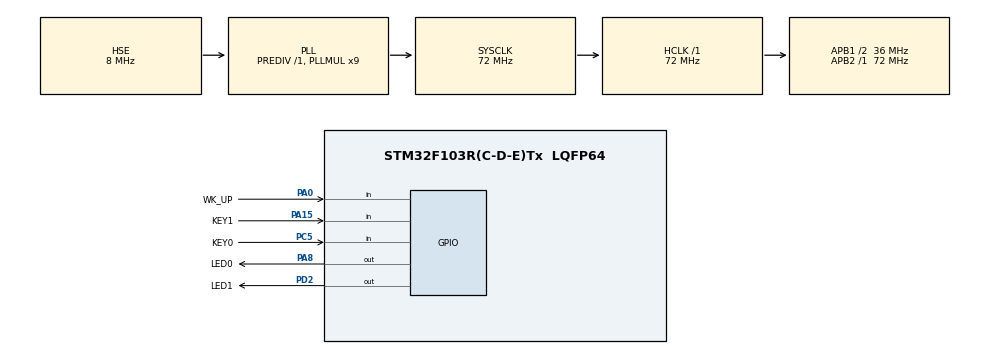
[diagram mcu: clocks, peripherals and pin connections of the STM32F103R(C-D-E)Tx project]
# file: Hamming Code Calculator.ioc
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Mcu.Family=STM32F1
Mcu.Name=STM32F103R(C-D-E)Tx
Mcu.Package=LQFP64
NVIC.PriorityGroup=NVIC_PRIORITYGROUP_4
NVIC.TIM3_IRQn=true\:1\:0\:true\:false\:true\:true\:true\:true
PA0-WKUP.GPIO_Label=WK_UP
PA0-WKUP.GPIO_PuPd=GPIO_PULLDOWN
PA0-WKUP.Signal=GPIO_Input
PA13.Mode=Serial_Wire
PA13.Signal=SYS_JTMS-SWDIO
PA14.Mode=Serial_Wire
PA14.Signal=SYS_JTCK-SWCLK
PA15.GPIO_Label=KEY1
PA15.GPIO_PuPd=GPIO_PULLUP
PA15.Signal=GPIO_Input
PA8.GPIO_Label=LED0
PA8.GPIO_PuPd=GPIO_NOPULL
PA8.Signal=GPIO_Output
PC5.GPIO_Label=KEY0
PC5.GPIO_PuPd=GPIO_PULLUP
PC5.Signal=GPIO_Input
PD0-OSC_IN.Mode=HSE-External-Oscillator
PD0-OSC_IN.Signal=RCC_OSC_IN
PD1-OSC_OUT.Mode=HSE-External-Oscillator
PD1-OSC_OUT.Signal=RCC_OSC_OUT
PD2.GPIO_Label=LED1
PD2.Signal=GPIO_Output
ProjectManager.HeapSize=0x200
ProjectManager.StackSize=0x400
ProjectManager.TargetToolchain=STM32CubeIDE
RCC.AHBFreq_Value=72000000
RCC.APB1CLKDivider=RCC_HCLK_DIV2
RCC.APB1Freq_Value=36000000
RCC.APB1TimFreq_Value=72000000
RCC.APB2Freq_Value=72000000
RCC.APB2TimFreq_Value=72000000
RCC.HCLKFreq_Value=72000000
RCC.PLLMUL=RCC_PLL_MUL9
RCC.PLLSourceVirtual=RCC_PLLSOURCE_HSE
RCC.SYSCLKFreq_VALUE=72000000
RCC.SYSCLKSource=RCC_SYSCLKSOURCE_PLLCLK
RCC.USBFreq_Value=72000000
TIM3.Period=500
TIM3.Prescaler=7199
VP_TIM3_VS_ClockSourceINT.Mode=Internal
board=custom

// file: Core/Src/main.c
/* USER CODE BEGIN Header */
/**
  ******************************************************************************
  * @file           : main.c
  * @brief          : Main program body
  ******************************************************************************
  * @attention
  *
  * Copyright (c) 2024 STMicroelectronics.
  * All rights reserved.
  *
  * This software is licensed under terms that can be found in the LICENSE file
  * in the root directory of this software component.
  * If no LICENSE file comes with this software, it is provided AS-IS.
  *
  ******************************************************************************
  */
/* USER CODE END Header */
#include "main.h"
#include "tim.h"
#include "gpio.h"

/* USER CODE BEGIN Includes */
#include "debounce.h"
#include "lcd.h"
#include <string.h>
#include <stdio.h>
#include <math.h>
/* USER CODE END Includes */

/* USER CODE BEGIN PTD */
typedef enum{
  ENCODE_MODE,
  DECODE_MODE
} CalculatorMode; // Calculator working mode
/* USER CODE END PTD */

/* USER CODE BEGIN PM */
#define ENCODE_MAX_LEN 4  // The maximum length of original data
#define DECODE_MAX_LEN 8  // The maximum length of hamming code
#define PARITY_LEN DECODE_MAX_LEN - ENCODE_MAX_LEN  // The number of parity bits
/* USER CODE END PM */

/* USER CODE BEGIN PV */
extern TIM_HandleTypeDef htim3; // Timer handler
extern Key_HandleTypeDef Key0;  // Key handler (defined in debounce.c, used for input debouncing)
extern Key_HandleTypeDef Key1;
extern Key_HandleTypeDef Key_WKUP;
/* USER CODE END PV */

void SystemClock_Config(void);

int main(void)
{

  /* MCU Configuration--------------------------------------------------------*/

  /* Reset of all peripherals, Initializes the Flash interface and the Systick. */
  HAL_Init();

  /* Configure the system clock */
  SystemClock_Config();

  /* USER CODE BEGIN SysInit */
  LCD_Init();
  /* USER CODE END SysInit */

  /* Initialize all configured peripherals */
  MX_GPIO_Init();
  MX_TIM3_Init();
  /* USER CODE BEGIN 2 */
  Debounce_InitKey0(); // Initialize the key debouncing functionality
  Debounce_InitKey1();
  Debounce_InitKeyWKUP();
  HAL_TIM_Base_Start_IT(&htim3);

  POINT_COLOR = BLACK;

  CalculatorMode mode = ENCODE_MODE;

  /* Input buffer */
  uint8_t input_buffer_len = 0;
  uint8_t input_buffer_size = ENCODE_MAX_LEN;
  uint8_t input_buffer[DECODE_MAX_LEN] = {0};             // Input buffer, stores all key inputs

  /* Data Storage */
                                                          // Data Names               || Encode Mode || Decode Mode
  uint8_t original_data[ENCODE_MAX_LEN] = {0};            // Original data            || User Input  || Corrected, from the corrected hamming code
  uint8_t error_data[ENCODE_MAX_LEN] = {0};               // Error data               || Unused      || Uncorrected, straight from input's data bits
  uint8_t hamming_code[DECODE_MAX_LEN] = {0};             // Hamming code             || Generated   || User Input
  uint8_t corrected_hamming_code[DECODE_MAX_LEN] = {0};   // Corrected hamming code   || Unused      || Corrected after error detection
  uint8_t parity_bits[PARITY_LEN] = {0};                  // Parity bits
  uint8_t error_num = 0;                                  // Error number
  uint8_t error_overall_flag = 0;                         // If the global parity bit is incorrect
  uint8_t error_local_flag = 0;                           // If any of the local parity bits are incorrect
  uint8_t error_bit_pos = 0;                              // The position of the error bit

  /* Flags */
  uint8_t repaint_flag = 0;                               // Repaint only when certain events occur
  uint8_t key0_pressed_flag = 0;
  uint8_t key1_pressed_flag = 0;
  uint8_t key_wkup_pressed_flag = 0;

  // Turn off LEDs
  HAL_GPIO_WritePin(LED0_GPIO_Port, LED0_Pin, GPIO_PIN_SET);
  HAL_GPIO_WritePin(LED1_GPIO_Port, LED1_Pin, GPIO_PIN_SET);

  // Display the welcome message
  LCD_Clear(WHITE);
  LCD_ShowString(45, 70,  200, 24, 24, (uint8_t*) "   Hamming     ");
  LCD_ShowString(40, 100, 200, 24, 24, (uint8_t*) "     Code      ");
  LCD_ShowString(40, 130, 200, 24, 24, (uint8_t*) "  Calculator   ");
  LCD_ShowString(20, 160, 200, 16, 16, (uint8_t*) " By 12212006 Mengxuan Wu ");
  LCD_ShowString(20, 176, 200, 16, 16, (uint8_t*) "Press Any Key to Continue");
  /* USER CODE END 2 */

  /* Infinite loop */
  while (1)
  {

    /* USER CODE BEGIN 3 */

    /* Read key press events */
    key0_pressed_flag = Debounce_ReadPress(&Key0);
    key1_pressed_flag = Debounce_ReadPress(&Key1);
    key_wkup_pressed_flag = Debounce_ReadPress(&Key_WKUP);
    repaint_flag = key0_pressed_flag || key1_pressed_flag || key_wkup_pressed_flag;  // Repaint only when key pressed

    /* Working mode switch */
    if (key_wkup_pressed_flag){
      input_buffer_len = 0;
      memset(input_buffer, 0, sizeof(input_buffer));
      if (mode == ENCODE_MODE){
        mode = DECODE_MODE;

        // flash once
        for (int i = 0; i < 2; i++){
          HAL_GPIO_TogglePin(LED0_GPIO_Port, LED0_Pin);
          HAL_GPIO_TogglePin(LED1_GPIO_Port, LED1_Pin);
          HAL_Delay(100);
        }
      } else {
        mode = ENCODE_MODE;

        // flash twice
        for (int i = 0; i < 4; i++){
          HAL_GPIO_TogglePin(LED0_GPIO_Port, LED0_Pin);
          HAL_GPIO_TogglePin(LED1_GPIO_Port, LED1_Pin);
          HAL_Delay(100);
        }
      }
    }

    /* Handle input event (Key0 has higher priority) */
    input_buffer_size = mode == ENCODE_MODE ? ENCODE_MAX_LEN : DECODE_MAX_LEN;  // Set input buffer size based on mode
    if (key0_pressed_flag || key1_pressed_flag){
      if (input_buffer_len >= input_buffer_size){
        input_buffer_len = 0; // Clear buffer when full
      }
      if (key0_pressed_flag){
        input_buffer[input_buffer_len] = 0;
        input_buffer_len++;
      } else if (key1_pressed_flag){
        input_buffer[input_buffer_len] = 1;
        input_buffer_len++;
      }
    }

    /* Encode & decode logic */
    if (input_buffer_len == input_buffer_size){ // trigger the calculation when the input buffer is full
      memset(parity_bits, 0, sizeof(parity_bits));
      if (mode == ENCODE_MODE){
        /* Encode mode */
        memcpy(original_data, input_buffer, ENCODE_MAX_LEN * sizeof(uint8_t));
        memset(hamming_code, 0, sizeof(hamming_code));

        hamming_code[3] = original_data[0];
        hamming_code[5] = original_data[1];
        hamming_code[6] = original_data[2];
        hamming_code[7] = original_data[3];

        for (int i = 1; i < DECODE_MAX_LEN; i++){
          for (int j = 1; j < PARITY_LEN; j++){
            if ((i >> (j - 1)) & 1){
              parity_bits[j] ^= hamming_code[i];
            }
          }
        }

        hamming_code[1] = parity_bits[1];
        hamming_code[2] = parity_bits[2];
        hamming_code[4] = parity_bits[3];

        for (int i = 1; i < DECODE_MAX_LEN; i++){
          parity_bits[0] ^= hamming_code[i];
        }

        hamming_code[0] = parity_bits[0];
      }else{
        /* Decode mode */
        memcpy(hamming_code, input_buffer, DECODE_MAX_LEN * sizeof(uint8_t));
        memset(original_data, 0, sizeof(original_data));
        memset(error_data, 0, sizeof(error_data));

        error_data[0] = hamming_code[3];
        error_data[1] = hamming_code[5];
        error_data[2] = hamming_code[6];
        error_data[3] = hamming_code[7];

        for (int i = 0; i < DECODE_MAX_LEN; i++){
          for (int j = 1; j < PARITY_LEN; j++){
            if ((i >> (j - 1)) & 1){
              parity_bits[j] ^= hamming_code[i];
            }
          }
          parity_bits[0] ^= input_buffer[i];
        }

        error_bit_pos = 0;
        error_local_flag = 0;
        error_overall_flag = 0;

        for (int i = 1; i < PARITY_LEN; i++){
          error_bit_pos |= (parity_bits[i] << (i - 1));
        }
        error_local_flag = (error_bit_pos != 0);
        error_overall_flag = (parity_bits[0] != 0);

        if (!error_local_flag && !error_overall_flag){
          // if no error in global and local parity bits, then no error
          error_num = 0;
          memcpy(original_data, error_data, sizeof(error_data));
        } else if (error_overall_flag){
          // if error in global parity bit, then correct it
          error_num = 1;
          memcpy(corrected_hamming_code, hamming_code, sizeof(hamming_code));
          corrected_hamming_code[error_bit_pos] ^= 1;

          original_data[0] = corrected_hamming_code[3];
          original_data[1] = corrected_hamming_code[5];
          original_data[2] = corrected_hamming_code[6];
          original_data[3] = corrected_hamming_code[7];
        } else{
          // if error in local parity bits, but not in global parity bit, then two flips occurred
          error_num = 2;
        }
      }
    }

    /* Repaint */
    if (repaint_flag){
      uint8_t temp_string_arr[50];
      LCD_Clear(WHITE);

      /* Zone 1: working mode */
      if (mode == ENCODE_MODE){
        LCD_ShowString(30, 20, 200, 24, 24, (uint8_t*) "Encoding mode");
      }else{
        LCD_ShowString(30, 20, 200, 24, 24, (uint8_t*) "Decoding mode");
      }

      LCD_DrawLine(0, 50, 240, 50);

      /* Zone 2: original data */
      LCD_ShowString(30, 60, 200, 24, 24, (uint8_t*) "Original data:");
      if (mode == ENCODE_MODE){
        for (int i = 0; i < input_buffer_len; i++){
          LCD_ShowNum(30 + 16 * i, 90, input_buffer[i], 1, 16);
        }
      } else {
        if (input_buffer_len == input_buffer_size){
          if (error_num == 2){
            POINT_COLOR = RED;
            LCD_ShowString(30, 90, 200, 16, 16, (uint8_t*) "Unknown");
            POINT_COLOR = BLACK;
          } else {
            for (int i = 0; i < ENCODE_MAX_LEN; i++){
              LCD_ShowNum(30 + 16 * i, 90, original_data[i], 1, 16);
            }
          }
        }
      }

      LCD_DrawLine(0, 120, 240, 120);

      /* Zone 3: hamming code */
      LCD_ShowString(30, 130, 200, 24, 24, (uint8_t*) "Hamming code:");
      if (mode == ENCODE_MODE){
        if (input_buffer_len == input_buffer_size){
          for (int i = 0; i < DECODE_MAX_LEN; i++){
            LCD_ShowNum(30 + 16 * i, 160, hamming_code[i], 1, 16);
          }
        }
      } else {
        for (int i = 0; i < input_buffer_len; i++){
          LCD_ShowNum(30 + 16 * i, 160, input_buffer[i], 1, 16);
        }
        if (input_buffer_len == input_buffer_size){
          if (error_num == 1){
            POINT_COLOR = RED;
            LCD_DrawRectangle(25 + 16 * error_bit_pos, 160, 25 + 16 * (error_bit_pos + 1), 176);
            POINT_COLOR = BLACK;
          }
          sprintf((char *)temp_string_arr, "with %d parity bits", (int) PARITY_LEN);
          LCD_ShowString(30, 180, 200, 16, 16, temp_string_arr);
        }
      }

      LCD_DrawLine(0, 200, 240, 200);

      /* Zone 4: extra info */
      if (input_buffer_len == input_buffer_size){
        if (mode == ENCODE_MODE){
          sprintf((char *)temp_string_arr, "P_overall: %d", (int) parity_bits[0]);
          LCD_ShowString(30, 210, 200, 16, 16, temp_string_arr);

          for (int i = 1; i < PARITY_LEN; i++){
            sprintf((char *)temp_string_arr, "P_%d: %d", (int) pow(2, i - 1), (int)   parity_bits[i]);
            LCD_ShowString(30 + 120 * (i % 2), 210 + 16 * (i / 2), 200, 16, 16,   temp_string_arr);
          }
        } else {
          sprintf((char *)temp_string_arr, "C_overall: %d", (int) parity_bits[0]);
          LCD_ShowString(30, 210, 200, 16, 16, temp_string_arr);

          for (int i = 1; i < PARITY_LEN; i++){
            sprintf((char *)temp_string_arr, "C_%d: %d", (int) pow(2, i - 1), (int)   parity_bits[i]);
            LCD_ShowString(30 + 120 * (i % 2), 210 + 16 * (i / 2), 200, 16, 16,   temp_string_arr);
          }

          uint8_t error_info_y_pos = 210 + 16 * ((PARITY_LEN - 1) / 2);

          if (error_num == 0){
            LCD_ShowString(30, error_info_y_pos + 16, 200, 16, 16, (uint8_t*) "No error is found");
          } else if (error_num == 1){
            LCD_ShowString(30, error_info_y_pos + 16, 200, 16, 16, (uint8_t*) "One error is found");
            sprintf((char *)temp_string_arr, "in bit %d", (int) error_bit_pos);
            LCD_ShowString(30, error_info_y_pos + 32, 200, 16, 16, temp_string_arr);
            LCD_ShowString(30, error_info_y_pos + 48, 200, 16, 16, (uint8_t*) "The error data is: ");
            for (int i = 0; i < ENCODE_MAX_LEN; i++){
              LCD_ShowNum(30 + 16 * i, error_info_y_pos + 64, error_data[i], 1, 16);
            }
          } else {
            LCD_ShowString(30, error_info_y_pos + 16, 200, 16, 16, (uint8_t*) "Two errors are found");
            LCD_ShowString(30, error_info_y_pos + 32, 200, 16, 16, (uint8_t*) "Unable to decode");
            LCD_ShowString(30, error_info_y_pos + 48, 200, 16, 16, (uint8_t*) "The error data is: ");
            for (int i = 0; i < ENCODE_MAX_LEN; i++){
              LCD_ShowNum(30 + 16 * i, error_info_y_pos + 64, error_data[i], 1, 16);
            }
          }
        }
      }
    }
  }
  /* USER CODE END 3 */
}

void SystemClock_Config(void)
{
  RCC_OscInitTypeDef RCC_OscInitStruct = {0};
  RCC_ClkInitTypeDef RCC_ClkInitStruct = {0};

  /** Initializes the RCC Oscillators according to the specified parameters
  * in the RCC_OscInitTypeDef structure.
  */
  RCC_OscInitStruct.OscillatorType = RCC_OSCILLATORTYPE_HSE;
  RCC_OscInitStruct.HSEState = RCC_HSE_ON;
  RCC_OscInitStruct.HSEPredivValue = RCC_HSE_PREDIV_DIV1;
  RCC_OscInitStruct.HSIState = RCC_HSI_ON;
  RCC_OscInitStruct.PLL.PLLState = RCC_PLL_ON;
  RCC_OscInitStruct.PLL.PLLSource = RCC_PLLSOURCE_HSE;
  RCC_OscInitStruct.PLL.PLLMUL = RCC_PLL_MUL9;
  if (HAL_RCC_OscConfig(&RCC_OscInitStruct) != HAL_OK)
  {
    Error_Handler();
  }

  /** Initializes the CPU, AHB and APB buses clocks
  */
  RCC_ClkInitStruct.ClockType = RCC_CLOCKTYPE_HCLK|RCC_CLOCKTYPE_SYSCLK
                              |RCC_CLOCKTYPE_PCLK1|RCC_CLOCKTYPE_PCLK2;
  RCC_ClkInitStruct.SYSCLKSource = RCC_SYSCLKSOURCE_PLLCLK;
  RCC_ClkInitStruct.AHBCLKDivider = RCC_SYSCLK_DIV1;
  RCC_ClkInitStruct.APB1CLKDivider = RCC_HCLK_DIV2;
  RCC_ClkInitStruct.APB2CLKDivider = RCC_HCLK_DIV1;

  if (HAL_RCC_ClockConfig(&RCC_ClkInitStruct, FLASH_LATENCY_2) != HAL_OK)
  {
    Error_Handler();
  }
}

void Error_Handler(void)
{
  __disable_irq();
  while (1)
  {
  }
}
